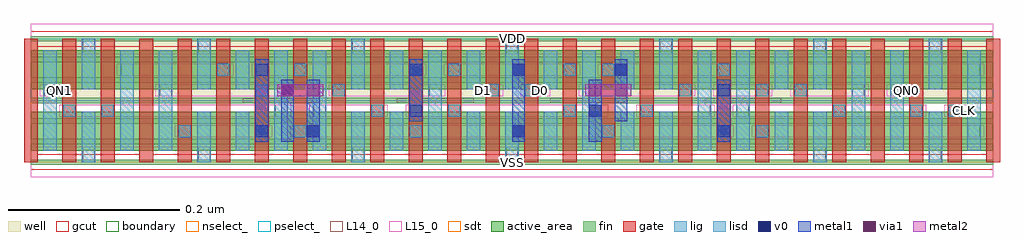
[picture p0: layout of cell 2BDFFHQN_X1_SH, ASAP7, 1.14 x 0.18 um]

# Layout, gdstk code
import gdstk
lib = gdstk.Library(unit=1e-6, precision=2.5e-10)
def R(c, l, rs):  # rectangles x0, y0, x1, y1
    for r in rs: c.add(gdstk.rectangle(r[:2], r[2:], *l))
def A(c, l, x, y, w, h, nx, ny, dx, dy):  # array of equal rectangles
    R(c, l, [(x+i*dx, y+j*dy, x+i*dx+w, y+j*dy+h) for i in range(nx) for j in range(ny)])
def P(c, l, *ps):  # polygons
    for p in ps: c.add(gdstk.Polygon(p, *l))
well = (1, 0)
fin = (2, 0)
gate = (7, 0)
gcut = (10, 0)
active_area = (11, 0)
nselect_ = (12, 0)
pselect_ = (13, 0)
L14_0 = (14, 0)
L15_0 = (15, 0)
lig = (16, 0)
lisd = (17, 0)
v0 = (18, 0)
metal1 = (19, 0)
metal2 = (20, 0)
via1 = (21, 0)
sdt = (88, 0)
boundary = (100, 0)

c_2bdffhqn_x1_sh = lib.new_cell('2BDFFHQN_X1_SH')
R(c_2bdffhqn_x1_sh, well, [(0,0.072,1.125,0.144)])
A(c_2bdffhqn_x1_sh, fin, 0, -0.003, 1.125, 0.006, 1, 7, 0, 0.024)
A(c_2bdffhqn_x1_sh, gate, -0.008, 0, 0.016, 0.144, 26, 1, 0.045, 0)
A(c_2bdffhqn_x1_sh, gcut, 0.2475, 0.0695, 0.09, 0.005, 4, 1, 0.18, 0)
P(c_2bdffhqn_x1_sh, gcut, [(0,-0.009),(0,0),(-0.008,0),(-0.008,0.135),(0.008,0.135),(0.008,0.009),(0.127,0.009),(0.127,0.135),(0.143,0.135),(0.143,0.009),(0.982,0.009),(0.982,0.135),(0.998,0.135),(0.998,0.009),(1.117,0.009),(1.117,0.135),(-0.008,0.135),(-0.008,0.144),(0,0.144),(0,0.153),(1.125,0.153),(1.125,0.144),(1.133,0.144),(1.133,0),(1.125,0),(1.125,-0.009)])
R(c_2bdffhqn_x1_sh, active_area, [(0,0.013,1.125,0.059), (0,0.085,1.125,0.131)])
R(c_2bdffhqn_x1_sh, nselect_, [(0,0,1.125,0.072)])
R(c_2bdffhqn_x1_sh, pselect_, [(0,0.072,1.125,0.144)])
A(c_2bdffhqn_x1_sh, L14_0, 0.1955, 0, 0.014, 0.018, 5, 2, 0.18, 0.126)
R(c_2bdffhqn_x1_sh, L14_0, [(0.0605,0,0.0745,0.018), (1.0505,0,1.0645,0.018), (0.173,0.029,0.187,0.043), (0.263,0.029,0.277,0.043), (0.308,0.029,0.322,0.043), (0.443,0.029,0.457,0.043), (0.668,0.029,0.682,0.043), (0.803,0.029,0.817,0.043), (0.848,0.029,0.862,0.043), (1.0955,0.029,1.1095,0.043), (0.038,0.053,0.052,0.067), (0.083,0.053,0.097,0.067), (0.2855,0.053,0.2995,0.067), (0.3305,0.053,0.3445,0.067), (0.398,0.053,0.412,0.067), (0.488,0.053,0.502,0.067), (0.623,0.053,0.637,0.067), (0.713,0.053,0.727,0.067), (0.7805,0.053,0.7945,0.067), (0.8255,0.053,0.8395,0.067), (0.938,0.053,0.952,0.067), (1.028,0.053,1.042,0.067), (1.073,0.053,1.087,0.067), (0.0155,0.077,0.0295,0.091), (0.1505,0.077,0.1645,0.091), (0.263,0.077,0.277,0.091), (0.353,0.077,0.367,0.091), (0.4655,0.077,0.4795,0.091), (0.533,0.077,0.547,0.091), (0.578,0.077,0.592,0.091), (0.6455,0.077,0.6595,0.091), (0.758,0.077,0.772,0.091), (0.848,0.077,0.862,0.091), (0.893,0.077,0.907,0.091), (0.9605,0.077,0.9745,0.091), (1.0055,0.077,1.0195,0.091), (0.1055,0.101,0.1195,0.115), (0.218,0.101,0.232,0.115), (0.308,0.101,0.322,0.115), (0.443,0.101,0.457,0.115), (0.488,0.101,0.502,0.115), (0.623,0.101,0.637,0.115), (0.668,0.101,0.682,0.115), (0.803,0.101,0.817,0.115), (1.0955,0.101,1.1095,0.115), (0.0605,0.126,0.0745,0.144), (1.0505,0.126,1.0645,0.144)])
R(c_2bdffhqn_x1_sh, L15_0, [(0,-0.018,1.125,0.018), (0.168,0.029,0.282,0.043), (0.303,0.029,0.822,0.043), (0.843,0.029,1.1145,0.043), (0.033,0.053,0.3045,0.067), (0.3255,0.053,0.417,0.067), (0.438,0.053,0.675,0.067), (0.708,0.053,0.7995,0.067), (0.8205,0.053,1.047,0.067), (1.068,0.053,1.1025,0.067), (0.0105,0.077,0.045,0.091), (0.1455,0.077,0.315,0.091), (0.348,0.077,0.4845,0.091), (0.5175,0.077,0.552,0.091), (0.573,0.077,0.6075,0.091), (0.6405,0.077,0.777,0.091), (0.798,0.077,0.867,0.091), (0.888,0.077,0.9795,0.091), (1.0005,0.077,1.035,0.091), (0.1005,0.101,0.237,0.115), (0.258,0.101,0.462,0.115), (0.483,0.101,0.642,0.115), (0.663,0.101,1.1145,0.115), (0,0.126,1.125,0.162)])
R(c_2bdffhqn_x1_sh, lig, [(0.173,0.029,0.187,0.043), (0.263,0.029,0.277,0.043), (0.308,0.029,0.322,0.043), (0.443,0.029,0.457,0.043), (0.668,0.029,0.682,0.043), (0.803,0.029,0.817,0.043), (0.848,0.029,0.862,0.043), (0.038,0.053,0.052,0.067), (0.083,0.053,0.097,0.067), (0.398,0.053,0.412,0.067), (0.488,0.053,0.502,0.067), (0.623,0.053,0.637,0.067), (0.713,0.053,0.727,0.067), (0.938,0.053,0.952,0.067), (1.028,0.053,1.042,0.067), (1.073,0.053,1.087,0.067), (0.263,0.077,0.277,0.091), (0.353,0.077,0.367,0.091), (0.533,0.077,0.547,0.091), (0.578,0.077,0.592,0.091), (0.758,0.077,0.772,0.091), (0.848,0.077,0.862,0.091), (0.893,0.077,0.907,0.091), (0.218,0.101,0.232,0.115), (0.308,0.101,0.322,0.115), (0.443,0.101,0.457,0.115), (0.488,0.101,0.502,0.115), (0.623,0.101,0.637,0.115), (0.668,0.101,0.682,0.115), (0.803,0.101,0.817,0.115)])
A(c_2bdffhqn_x1_sh, lisd, 0.1945, 0, 0.016, 0.059, 5, 2, 0.18, 0.085)
A(c_2bdffhqn_x1_sh, lisd, 0.4195, 0.013, 0.016, 0.046, 4, 2, 0.09, 0.072)
R(c_2bdffhqn_x1_sh, lisd, [(0.0595,0,0.0755,0.059), (1.0495,0,1.0655,0.059), (0.0145,0.013,0.0305,0.131), (0.1045,0.013,0.1205,0.131), (0.1495,0.013,0.1655,0.131), (0.2395,0.013,0.2555,0.059), (0.2845,0.013,0.3005,0.131), (0.3295,0.013,0.3455,0.131), (0.4645,0.013,0.4805,0.131), (0.6445,0.013,0.6605,0.131), (0.7795,0.013,0.7955,0.131), (0.8245,0.013,0.8405,0.131), (0.8695,0.013,0.8855,0.059), (0.9595,0.013,0.9755,0.131), (1.0045,0.013,1.0205,0.131), (1.0945,0.013,1.1105,0.131), (0.0595,0.085,0.0755,0.144), (0.2395,0.085,0.2555,0.131), (0.8695,0.085,0.8855,0.131), (1.0495,0.085,1.0655,0.144)])
A(c_2bdffhqn_x1_sh, v0, 0.323, 0.029, 0.014, 0.014, 3, 1, 0.24, 0)
A(c_2bdffhqn_x1_sh, v0, 0.443, 0.101, 0.014, 0.014, 3, 1, 0.12, 0)
R(c_2bdffhqn_x1_sh, v0, [(0.263,0.029,0.277,0.043), (0.443,0.053,0.457,0.067), (0.653,0.053,0.667,0.067), (0.293,0.077,0.307,0.091), (0.803,0.077,0.817,0.091), (0.263,0.101,0.277,0.115)])
R(c_2bdffhqn_x1_sh, metal1, [(0.2625,0.024,0.2775,0.12), (0.2925,0.024,0.3075,0.096), (0.3225,0.024,0.3375,0.096), (0.5625,0.024,0.5775,0.12), (0.6525,0.024,0.6675,0.096), (0.8025,0.024,0.8175,0.096), (0.4425,0.048,0.4575,0.12), (0.6825,0.048,0.6975,0.12)])
R(c_2bdffhqn_x1_sh, metal2, [(0.288,0.077,0.342,0.091), (0.648,0.077,0.702,0.091)])
R(c_2bdffhqn_x1_sh, via1, [(0.293,0.077,0.307,0.091), (0.323,0.077,0.337,0.091), (0.653,0.077,0.667,0.091), (0.683,0.077,0.697,0.091)])
A(c_2bdffhqn_x1_sh, sdt, 0.0145, 0.014, 0.016, 0.044, 25, 2, 0.045, 0.072)
R(c_2bdffhqn_x1_sh, boundary, [(0,0,1.125,0.144)])
c_2bdffhqn_x1_sh.add(gdstk.Label('VDD', (0.5625,0.144), layer=15, texttype=251))
c_2bdffhqn_x1_sh.add(gdstk.Label('VSS', (0.5625,0), layer=15, texttype=251))
c_2bdffhqn_x1_sh.add(gdstk.Label('QN0', (1.0237,0.084), layer=15, texttype=251))
c_2bdffhqn_x1_sh.add(gdstk.Label('VDD', (0.5625,0.144), layer=15, texttype=251))
c_2bdffhqn_x1_sh.add(gdstk.Label('VSS', (0.5625,0), layer=15, texttype=251))
c_2bdffhqn_x1_sh.add(gdstk.Label('D0', (0.5963,0.084), layer=15, texttype=251))
c_2bdffhqn_x1_sh.add(gdstk.Label('VDD', (0.5625,0.144), layer=15, texttype=251))
c_2bdffhqn_x1_sh.add(gdstk.Label('VSS', (0.5625,0), layer=15, texttype=251))
c_2bdffhqn_x1_sh.add(gdstk.Label('CLK', (1.0913,0.06), layer=15, texttype=251))
c_2bdffhqn_x1_sh.add(gdstk.Label('VDD', (0.5625,0.144), layer=15, texttype=251))
c_2bdffhqn_x1_sh.add(gdstk.Label('VSS', (0.5625,0), layer=15, texttype=251))
c_2bdffhqn_x1_sh.add(gdstk.Label('QN1', (0.0338,0.084), layer=15, texttype=251))
c_2bdffhqn_x1_sh.add(gdstk.Label('VDD', (0.5625,0.144), layer=15, texttype=251))
c_2bdffhqn_x1_sh.add(gdstk.Label('VSS', (0.5625,0), layer=15, texttype=251))
c_2bdffhqn_x1_sh.add(gdstk.Label('D1', (0.5288,0.084), layer=15, texttype=251))
c_2bdffhqn_x1_sh.add(gdstk.Label('VSS', (0.5625,0), layer=3, texttype=251))
c_2bdffhqn_x1_sh.add(gdstk.Label('VSS', (0.5625,0), layer=3, texttype=251))
c_2bdffhqn_x1_sh.add(gdstk.Label('VSS', (0.5625,0), layer=3, texttype=251))
c_2bdffhqn_x1_sh.add(gdstk.Label('VSS', (0.5625,0), layer=3, texttype=251))
c_2bdffhqn_x1_sh.add(gdstk.Label('VSS', (0.5625,0), layer=3, texttype=251))
c_2bdffhqn_x1_sh.add(gdstk.Label('VDD', (0.5625,0.144), layer=1, texttype=251))
c_2bdffhqn_x1_sh.add(gdstk.Label('VDD', (0.5625,0.144), layer=1, texttype=251))
c_2bdffhqn_x1_sh.add(gdstk.Label('VDD', (0.5625,0.144), layer=1, texttype=251))
c_2bdffhqn_x1_sh.add(gdstk.Label('VDD', (0.5625,0.144), layer=1, texttype=251))
c_2bdffhqn_x1_sh.add(gdstk.Label('VDD', (0.5625,0.144), layer=1, texttype=251))

lib.write_gds('2BDFFHQN_X1_SH.gds')
